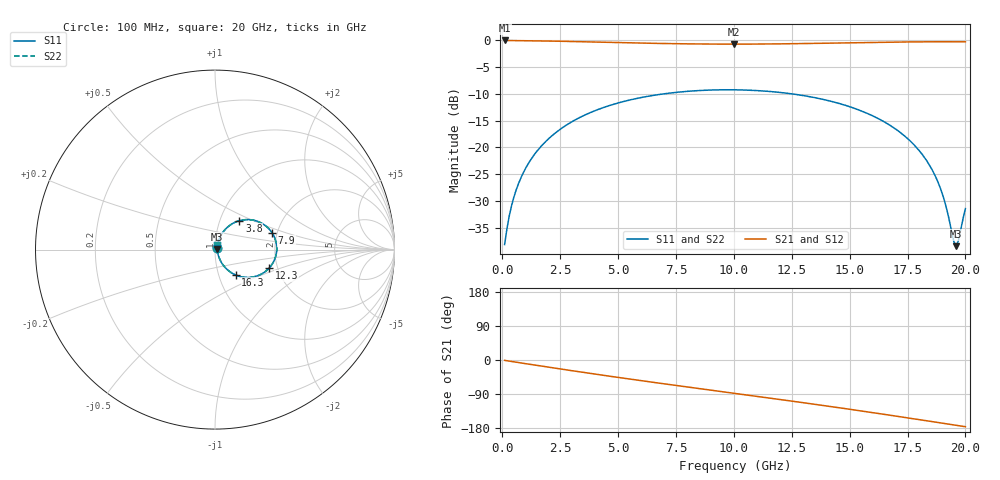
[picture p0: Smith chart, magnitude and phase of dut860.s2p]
! Touchstone file exported from HFSS 2026.1.0
!  File:  C:/ffzhzh/LocalFiles/Ansys_Project_Files/temp_train_TSV_RDL_860_1783270778_38820.aedt
!  Generated:  01:08:48 AM Jul  6, 2026
!  Design:  TSV_RDL
!  Project:  temp_train_TSV_RDL_860_1783270778_38820
! Variables:
!  h_bsmrdl = 3.7um
!  h_ox = 20um
!  h_rdl = 5um
!  h_sub = 95.91um
!  h_tmrdl = 5.16um
!  h_tsv = 95.91um
!  h_via = 3um
!  l_bsmrdl = 506um
!  l_sub = 2555.68um
!  l_tmrdl = 131.58um
!  m_sub = 200um
!  pitch = 44.09um
!  r_tsv = 13.86um
!  s_tmrdl = 10um
!  w_bsmrdl = 20.78um
!  w_sub = 500um
!  w_tmrdl = 16.34um
!  x_tsv_center1 = 139.75um
!  x_tsv_center2 = 666.53um
!  x_tsv_center3 = 814.45um
!  x_tsv_center4 = 1341.23um
!  x_tsv_center5 = 1489.15um
!  x_tsv_center6 = 2015.93um
# GHz S MA R 50.000000
! Terminal data exported
! Port[1] = TM_RDL1_1_T1
! Port[2] = TM_RDL5_1_T1
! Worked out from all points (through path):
!   200 points, 100 MHz to 20 GHz, reference 50 ohm
!   highest |S21| = -0.09 dB at 100 MHz (marker M1); lowest = -0.8 dB at 10 GHz (marker M2)
!   group delay of S21, straight-line fit = 23.9 ps
!   lowest |S11| = -38.4 dB at 19.6 GHz (marker M3), VSWR 1.02, Z = 51.2 + j0.149 ohm
!   |S11| at or under -10 dB: start of sweep to 7.014 GHz; 12.46 GHz to end of sweep
!   |S22| runs from -38.3 to -9.3 dB; largest |S21 - S12| = 5.2e-14
!   S11 on the Smith chart (normalised r, x): 100 MHz: 1.02, +0.01; 3.8 GHz: 1.24, +0.42; 7.9 GHz: 1.88, +0.39; 12.3 GHz: 1.81, -0.41; 16.3 GHz: 1.20, -0.35; 20 GHz: 1.02, +0.05
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0.1  0.01252 32.9  0.9896 -1.0  0.9896 -1.0  0.01252 32.9
! Gamma 0 0 0 0
! Port Impedance 50 0 50 0
0.3  0.02304 57.2  0.9883 -2.9  0.9883 -2.9  0.02304 57.2
0.5  0.03449 64.3  0.9872 -4.9  0.9872 -4.9  0.03449 64.3
1.1  0.06942 68.2  0.984 -10.5  0.984 -10.5  0.06942 68.2
2.1  0.1261 63.2  0.9767 -19.9  0.9767 -19.9  0.1261 63.2
3.5  0.1973 52.3  0.9626 -32.7  0.9626 -32.7  0.1973 52.3
3.8  0.211 49.8  0.9592 -35.4  0.9592 -35.4  0.211 49.8
6.8  0.3117 25.2  0.9282 -61.3  0.9282 -61.3  0.3116 25.2
7.9  0.3315 16.3  0.9206 -70.4  0.9206 -70.4  0.3315 16.3
10  0.344 -0.3  0.9147 -87.7  0.9147 -87.7  0.344 -0.3
10.1  0.3438 -1.1  0.9148 -88.5  0.9148 -88.5  0.3438 -1.1
12.3  0.3194 -18.6  0.9215 -106.8  0.9215 -106.8  0.3194 -18.6
13.4  0.2935 -27.4  0.9287 -116.1  0.9287 -116.1  0.2934 -27.4
16.3  0.1826 -50.9  0.9515 -141.6  0.9515 -141.6  0.1826 -50.9
16.7  0.163 -54.0  0.9542 -145.3  0.9542 -145.3  0.163 -54.0
17.7  0.1104 -61.0  0.9596 -154.5  0.9596 -154.5  0.1103 -60.9
18.5  0.06557 -63.9  0.962 -162.0  0.962 -162.0  0.06555 -63.8
19  0.03726 -60.2  0.9625 -166.7  0.9625 -166.7  0.03726 -60.0
19.5  0.01332 -18.7  0.9622 -171.4  0.9622 -171.4  0.01343 -18.3
19.6  0.01208 6.9  0.9621 -172.3  0.9621 -172.3  0.01222 7.1
19.7  0.01361 31.9  0.9619 -173.2  0.9619 -173.2  0.01376 31.8
20  0.02701 65.1  0.9611 -176.1  0.9611 -176.1  0.02712 64.9
